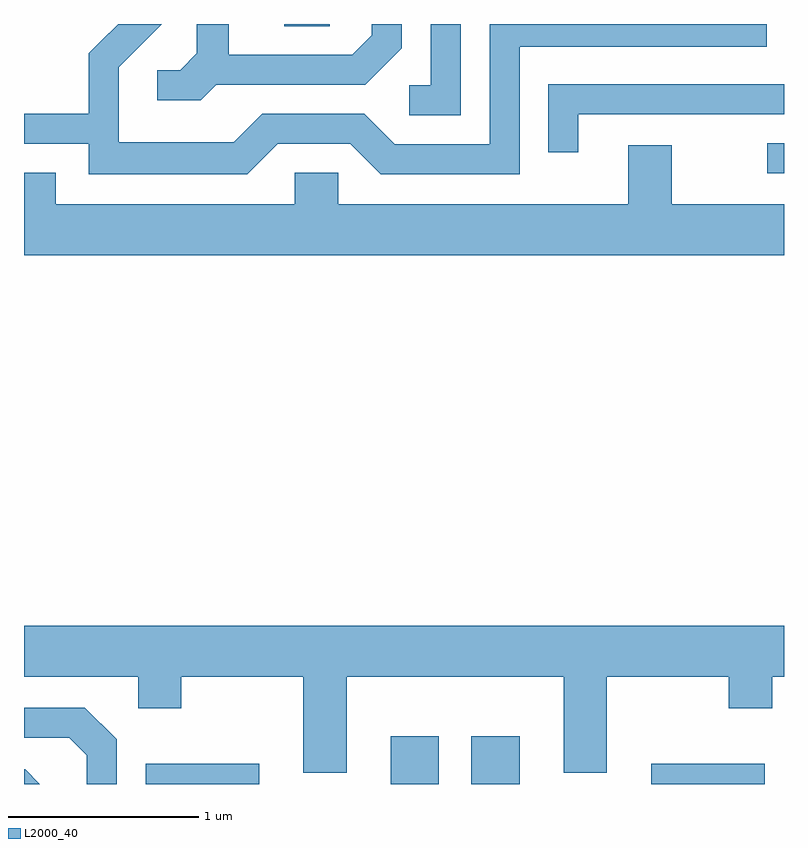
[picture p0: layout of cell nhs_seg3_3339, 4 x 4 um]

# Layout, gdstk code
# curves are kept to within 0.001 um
import gdstk
lib = gdstk.Library(unit=1e-6, precision=1e-09)
def R(c, l, rs):  # rectangles x0, y0, x1, y1
    for r in rs: c.add(gdstk.rectangle(r[:2], r[2:], *l))
def P(c, l, *ps):  # polygons
    for p in ps: c.add(gdstk.Polygon(p, *l))
L2000_40 = (2000, 40)

nhs_seg3_3339 = lib.new_cell('nhs_seg3_3339')
R(nhs_seg3_3339, L2000_40, [(284.251,1129.892,284.849,1129.999), (285.541,1129.892,285.794,1130.144), (285.966,1129.892,286.219,1130.144), (286.911,1129.892,287.509,1129.999), (287.523,1133.106,287.611,1133.264), (284.981,1133.881,285.219,1133.892)])
P(nhs_seg3_3339, L2000_40, [(284.622,1133.571),(285.407,1133.571),(285.599,1133.764),(285.599,1133.892),(285.441,1133.892),(285.441,1133.832),(285.339,1133.729),(284.689,1133.729),(284.689,1133.892),(284.521,1133.892),(284.521,1133.737),(284.434,1133.649),(284.313,1133.649),(284.313,1133.491),(284.542,1133.491)],
  [(284.947,1133.261),(285.329,1133.261),(285.489,1133.101),(286.219,1133.101),(286.219,1133.771),(287.519,1133.771),(287.519,1133.892),(286.061,1133.892),(286.061,1133.259),(285.562,1133.259),(285.402,1133.419),(284.864,1133.419),(284.714,1133.269),(284.109,1133.269),(284.109,1133.664),(284.337,1133.892),(284.106,1133.892),(283.951,1133.737),(283.951,1133.419),(283.611,1133.419),(283.611,1133.261),(283.951,1133.261),(283.951,1133.101),(284.787,1133.101)],
  [(285.909,1133.892),(285.751,1133.892),(285.751,1133.569),(285.638,1133.569),(285.638,1133.411),(285.909,1133.411)],
  [(286.529,1133.416),(287.611,1133.416),(287.611,1133.574),(286.371,1133.574),(286.371,1133.218),(286.529,1133.218)],
  [(287.611,1132.944),(287.019,1132.944),(287.019,1133.254),(286.791,1133.254),(286.791,1132.944),(285.264,1132.944),(285.264,1133.109),(285.036,1133.109),(285.036,1132.944),(283.779,1132.944),(283.779,1133.109),(283.611,1133.109),(283.611,1132.676),(287.611,1132.676)],
  [(283.611,1130.456),(284.211,1130.456),(284.211,1130.291),(284.439,1130.291),(284.439,1130.456),(285.081,1130.456),(285.081,1129.951),(285.309,1129.951),(285.309,1130.456),(286.451,1130.456),(286.451,1129.951),(286.679,1129.951),(286.679,1130.456),(287.321,1130.456),(287.321,1130.291),(287.549,1130.291),(287.549,1130.456),(287.611,1130.456),(287.611,1130.724),(283.611,1130.724)],
  [(284.099,1130.127),(283.932,1130.294),(283.611,1130.294),(283.611,1130.136),(283.849,1130.136),(283.941,1130.044),(283.941,1129.892),(284.099,1129.892)],
  [(283.617,1129.969),(283.611,1129.969),(283.611,1129.892),(283.694,1129.892)])

lib.write_gds('nhs_seg3_3339.gds')
